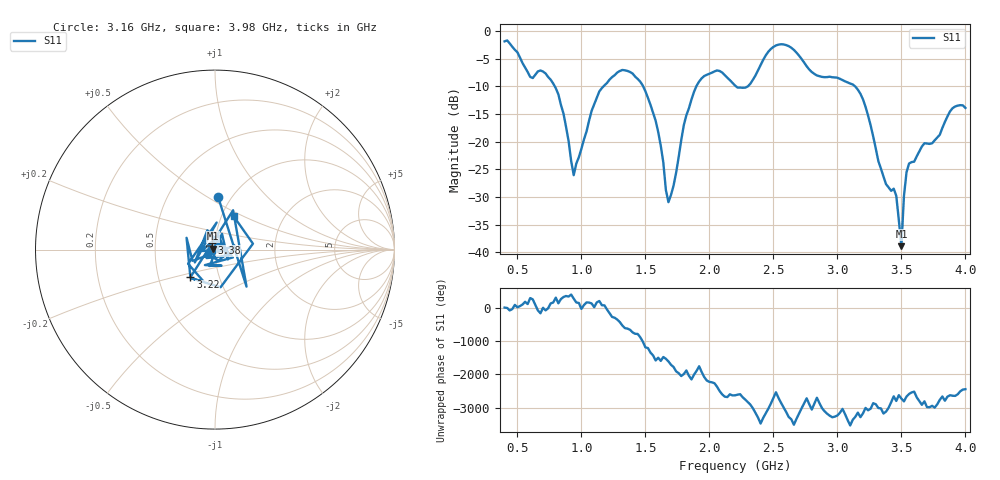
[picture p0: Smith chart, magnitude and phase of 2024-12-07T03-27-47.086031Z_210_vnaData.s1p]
!Created with skrf (http://scikit-rf.org).
# Hz S RI R 50.0
!freq ReS11 ImS11
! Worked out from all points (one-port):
!   181 points, 400 MHz to 4 GHz, reference 50 ohm
!   lowest |S11| = -38.9 dB at 3.5 GHz (marker M1), VSWR 1.02, Z = 49 + j0.582 ohm
!   |S11| at or under -10 dB: 792.2 MHz to 1.172 GHz (380 MHz wide, 38.7 % of centre); 1.483 GHz to 1.898 GHz (415.1 MHz wide, 24.6 % of centre); 3.139 GHz to end of sweep (the widest 3 of 4)
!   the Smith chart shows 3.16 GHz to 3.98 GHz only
!   S11 on the Smith chart (normalised r, x): 3.16 GHz: 0.87, +0.56; 3.22 GHz: 0.73, -0.23; 3.38 GHz: 0.96, +0.07; 3.98 GHz: 1.14, +0.44
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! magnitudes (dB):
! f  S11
! 400 MHz  -1.8
! 600 MHz  -8.3
! 720 MHz  -7.6
! 860 MHz  -14.9
! 940 MHz  -26.1
! 1.14 GHz  -10.9
! 1.3 GHz  -7.2
! 1.52 GHz  -12.1
! 1.6 GHz  -18.2
! 1.68 GHz  -30.9
! 1.76 GHz  -22.8
! 1.82 GHz  -15.2
! 1.92 GHz  -9.1
! 2.06 GHz  -7.1
! 2.2 GHz  -9.8
! 2.3 GHz  -10.0
! 2.5 GHz  -2.8
! 2.66 GHz  -3.4
! 3.1 GHz  -9.5
! 3.16 GHz  -10.6
! 3.22 GHz  -13.7
! 3.38 GHz  -27.7
! 3.46 GHz  -29.8
! 3.5 GHz  -38.9
! 3.52 GHz  -29.8
! 3.56 GHz  -23.9
! 3.98 GHz  -13.4
! 4 GHz  -13.9
